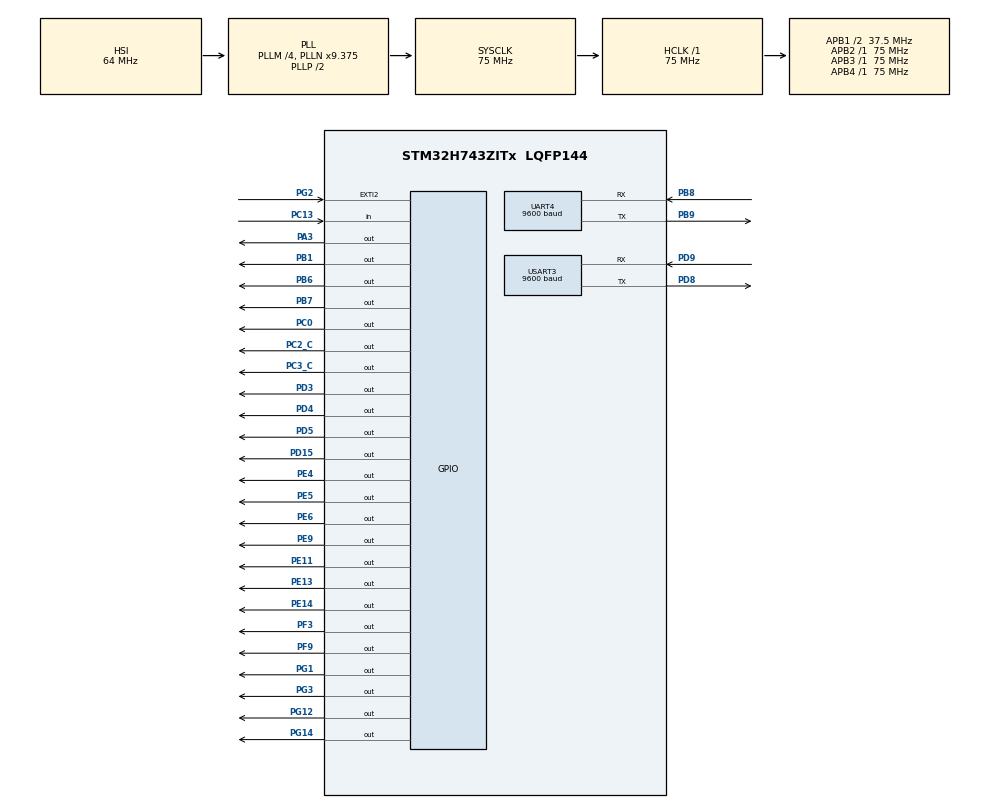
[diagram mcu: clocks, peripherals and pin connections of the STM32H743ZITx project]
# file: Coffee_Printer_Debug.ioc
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CORTEX_M7.default_mode_Activation=1
Mcu.Family=STM32H7
Mcu.Name=STM32H743ZITx
Mcu.Package=LQFP144
NVIC.PriorityGroup=NVIC_PRIORITYGROUP_4
NVIC.UART4_IRQn=true\:0\:0\:false\:false\:true\:true\:true\:true
NVIC.USART3_IRQn=true\:0\:0\:false\:false\:true\:true\:true\:true
PA3.Signal=GPIO_Output
PB1.Signal=GPIO_Output
PB6.Signal=GPIO_Output
PB7.Signal=GPIO_Output
PB8.Mode=Asynchronous
PB8.Signal=UART4_RX
PB9.Mode=Asynchronous
PB9.Signal=UART4_TX
PC0.Signal=GPIO_Output
PC13.Signal=GPIO_Input
PC2_C.Signal=GPIO_Output
PC3_C.Signal=GPIO_Output
PD15.Signal=GPIO_Output
PD3.Signal=GPIO_Output
PD4.Signal=GPIO_Output
PD5.Signal=GPIO_Output
PD8.Mode=Asynchronous
PD8.Signal=USART3_TX
PD9.Mode=Asynchronous
PD9.Signal=USART3_RX
PE11.Signal=GPIO_Output
PE13.Signal=GPIO_Output
PE14.Signal=GPIO_Output
PE4.Signal=GPIO_Output
PE5.Signal=GPIO_Output
PE6.Signal=GPIO_Output
PE9.Signal=GPIO_Output
PF3.Signal=GPIO_Output
PF9.Signal=GPIO_Output
PG1.Signal=GPIO_Output
PG12.Signal=GPIO_Output
PG14.Signal=GPIO_Output
PG2.Signal=GPXTI2
PG3.Signal=GPIO_Output
PH0-OSC_IN\ (PH0).Mode=HSE-External-Oscillator
PH0-OSC_IN\ (PH0).Signal=RCC_OSC_IN
PH1-OSC_OUT\ (PH1).Mode=HSE-External-Oscillator
PH1-OSC_OUT\ (PH1).Signal=RCC_OSC_OUT
ProjectManager.HeapSize=0x200
ProjectManager.StackSize=0x400
ProjectManager.TargetToolchain=STM32CubeIDE
RCC.ADCFreq_Value=129000000
RCC.APB1Freq_Value=37500000
RCC.APB2Freq_Value=75000000
RCC.APB3Freq_Value=75000000
RCC.APB4Freq_Value=75000000
RCC.CortexFreq_Value=75000000
RCC.D2PPRE1=RCC_APB1_DIV2
RCC.DIVM1=4
RCC.DIVN1=9
RCC.HCLKFreq_Value=75000000
RCC.PLL2FRACN=0
RCC.PLL3FRACN=0
RCC.PLLFRACN=3072
RCC.SYSCLKFreq_VALUE=75000000
RCC.SYSCLKSource=RCC_SYSCLKSOURCE_PLLCLK
RCC.USBFreq_Value=75000000
TIM1.Prescaler=75-1
UART4.BaudRate=9600
USART3.BaudRate=9600
USART3.VirtualMode-Asynchronous=VM_ASYNC
VP_TIM1_VS_ClockSourceINT.Mode=Internal
board=custom

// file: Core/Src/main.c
/* USER CODE BEGIN Header */
/**
  ******************************************************************************
  * @file           : main.c
  * @brief          : Main program body
  ******************************************************************************
  * @attention
  *
  * Copyright (c) 2023 STMicroelectronics.
  * All rights reserved.
  *
  * This software is licensed under terms that can be found in the LICENSE file
  * in the root directory of this software component.
  * If no LICENSE file comes with this software, it is provided AS-IS.
  *
  ******************************************************************************
  */
/* USER CODE END Header */
#include "main.h"

/* USER CODE BEGIN Includes */
#include "SteppLibrary.h"
#include "string.h"
/* USER CODE END Includes */

TIM_HandleTypeDef htim1;

UART_HandleTypeDef huart4;
UART_HandleTypeDef huart3;

void SystemClock_Config(void);
static void MPU_Config(void);
static void MX_GPIO_Init(void);
static void MX_TIM1_Init(void);
static void MX_USART3_UART_Init(void);
static void MX_UART4_Init(void);

/* USER CODE BEGIN 0 */
uint8_t RX_data[2]={};
uint8_t Package_Data[250000][2]={0};
uint32_t cnt = 0;
uint8_t accessFlag = 0;

int _write(int file, uint8_t *ptr, int len)
{
	int DataIdx;

	for (DataIdx = 0; DataIdx < len; DataIdx++)
	{
		ITM_SendChar(*ptr++);
	}
	return len;
}
/* USER CODE END 0 */

int main(void)
{
  /* USER CODE BEGIN 1 */
	uint8_t command;
	uint16_t steps;
	uint32_t i;
  /* USER CODE END 1 */

  /* MPU Configuration--------------------------------------------------------*/
  MPU_Config();

  /* MCU Configuration--------------------------------------------------------*/

  /* Reset of all peripherals, Initializes the Flash interface and the Systick. */
  HAL_Init();

  /* Configure the system clock */
  SystemClock_Config();

  /* Initialize all configured peripherals */
  MX_GPIO_Init();
  MX_TIM1_Init();
  MX_USART3_UART_Init();
  MX_UART4_Init();
  /* USER CODE BEGIN 2 */
  __HAL_UART_ENABLE_IT(&huart3, UART_IT_RXNE);
  __HAL_UART_ENABLE_IT(&huart3, UART_IT_TC);
  __HAL_UART_ENABLE_IT(&huart4, UART_IT_RXNE);
  __HAL_UART_ENABLE_IT(&huart4, UART_IT_TC);

  HAL_UARTEx_ReceiveToIdle_IT(&huart4, Package_Data[cnt], 2);
  /* USER CODE END 2 */

  /* Infinite loop */
  /* USER CODE BEGIN WHILE */
  while (1)
  {
	  if(accessFlag == 1)
	  {
		  printf("Start of printing!!!\n\n");
		  for(i = 0; i < cnt; i++)
		  {
			  convertStepsAndCommand(Package_Data[i], &steps, &command);
			  printf("command = %x, steps = %d\n", command, steps);
			  commandHandler(steps, command);
		  }
		  accessFlag = 0;
		  cnt = 0;
		  memset(Package_Data, 0, sizeof(Package_Data));
		  printf("Ready to receive!!!\n\n");
		  HAL_UARTEx_ReceiveToIdle_IT(&huart4, Package_Data[cnt], 2);
	  }
    /* USER CODE END WHILE */
  }
}

void SystemClock_Config(void)
{
  RCC_OscInitTypeDef RCC_OscInitStruct = {0};
  RCC_ClkInitTypeDef RCC_ClkInitStruct = {0};

  /** Supply configuration update enable
  */
  HAL_PWREx_ConfigSupply(PWR_LDO_SUPPLY);

  /** Configure the main internal regulator output voltage
  */
  __HAL_PWR_VOLTAGESCALING_CONFIG(PWR_REGULATOR_VOLTAGE_SCALE3);

  while(!__HAL_PWR_GET_FLAG(PWR_FLAG_VOSRDY)) {}

  /** Initializes the RCC Oscillators according to the specified parameters
  * in the RCC_OscInitTypeDef structure.
  */
  RCC_OscInitStruct.OscillatorType = RCC_OSCILLATORTYPE_HSI;
  RCC_OscInitStruct.HSIState = RCC_HSI_DIV1;
  RCC_OscInitStruct.HSICalibrationValue = RCC_HSICALIBRATION_DEFAULT;
  RCC_OscInitStruct.PLL.PLLState = RCC_PLL_ON;
  RCC_OscInitStruct.PLL.PLLSource = RCC_PLLSOURCE_HSI;
  RCC_OscInitStruct.PLL.PLLM = 4;
  RCC_OscInitStruct.PLL.PLLN = 9;
  RCC_OscInitStruct.PLL.PLLP = 2;
  RCC_OscInitStruct.PLL.PLLQ = 2;
  RCC_OscInitStruct.PLL.PLLR = 2;
  RCC_OscInitStruct.PLL.PLLRGE = RCC_PLL1VCIRANGE_3;
  RCC_OscInitStruct.PLL.PLLVCOSEL = RCC_PLL1VCOMEDIUM;
  RCC_OscInitStruct.PLL.PLLFRACN = 3072;
  if (HAL_RCC_OscConfig(&RCC_OscInitStruct) != HAL_OK)
  {
    Error_Handler();
  }

  /** Initializes the CPU, AHB and APB buses clocks
  */
  RCC_ClkInitStruct.ClockType = RCC_CLOCKTYPE_HCLK|RCC_CLOCKTYPE_SYSCLK
                              |RCC_CLOCKTYPE_PCLK1|RCC_CLOCKTYPE_PCLK2
                              |RCC_CLOCKTYPE_D3PCLK1|RCC_CLOCKTYPE_D1PCLK1;
  RCC_ClkInitStruct.SYSCLKSource = RCC_SYSCLKSOURCE_PLLCLK;
  RCC_ClkInitStruct.SYSCLKDivider = RCC_SYSCLK_DIV1;
  RCC_ClkInitStruct.AHBCLKDivider = RCC_HCLK_DIV1;
  RCC_ClkInitStruct.APB3CLKDivider = RCC_APB3_DIV1;
  RCC_ClkInitStruct.APB1CLKDivider = RCC_APB1_DIV2;
  RCC_ClkInitStruct.APB2CLKDivider = RCC_APB2_DIV1;
  RCC_ClkInitStruct.APB4CLKDivider = RCC_APB4_DIV1;

  if (HAL_RCC_ClockConfig(&RCC_ClkInitStruct, FLASH_LATENCY_1) != HAL_OK)
  {
    Error_Handler();
  }
}

static void MX_TIM1_Init(void)
{

  TIM_ClockConfigTypeDef sClockSourceConfig = {0};
  TIM_MasterConfigTypeDef sMasterConfig = {0};

  htim1.Instance = TIM1;
  htim1.Init.Prescaler = 75-1;
  htim1.Init.CounterMode = TIM_COUNTERMODE_UP;
  htim1.Init.Period = 65535;
  htim1.Init.ClockDivision = TIM_CLOCKDIVISION_DIV1;
  htim1.Init.RepetitionCounter = 0;
  htim1.Init.AutoReloadPreload = TIM_AUTORELOAD_PRELOAD_DISABLE;
  if (HAL_TIM_Base_Init(&htim1) != HAL_OK)
  {
    Error_Handler();
  }
  sClockSourceConfig.ClockSource = TIM_CLOCKSOURCE_INTERNAL;
  if (HAL_TIM_ConfigClockSource(&htim1, &sClockSourceConfig) != HAL_OK)
  {
    Error_Handler();
  }
  sMasterConfig.MasterOutputTrigger = TIM_TRGO_RESET;
  sMasterConfig.MasterOutputTrigger2 = TIM_TRGO2_RESET;
  sMasterConfig.MasterSlaveMode = TIM_MASTERSLAVEMODE_DISABLE;
  if (HAL_TIMEx_MasterConfigSynchronization(&htim1, &sMasterConfig) != HAL_OK)
  {
    Error_Handler();
  }

}

static void MX_UART4_Init(void)
{

  huart4.Instance = UART4;
  huart4.Init.BaudRate = 9600;
  huart4.Init.WordLength = UART_WORDLENGTH_8B;
  huart4.Init.StopBits = UART_STOPBITS_1;
  huart4.Init.Parity = UART_PARITY_NONE;
  huart4.Init.Mode = UART_MODE_TX_RX;
  huart4.Init.HwFlowCtl = UART_HWCONTROL_NONE;
  huart4.Init.OverSampling = UART_OVERSAMPLING_16;
  huart4.Init.OneBitSampling = UART_ONE_BIT_SAMPLE_DISABLE;
  huart4.Init.ClockPrescaler = UART_PRESCALER_DIV1;
  huart4.AdvancedInit.AdvFeatureInit = UART_ADVFEATURE_NO_INIT;
  if (HAL_UART_Init(&huart4) != HAL_OK)
  {
    Error_Handler();
  }
  if (HAL_UARTEx_SetTxFifoThreshold(&huart4, UART_TXFIFO_THRESHOLD_1_8) != HAL_OK)
  {
    Error_Handler();
  }
  if (HAL_UARTEx_SetRxFifoThreshold(&huart4, UART_RXFIFO_THRESHOLD_1_8) != HAL_OK)
  {
    Error_Handler();
  }
  if (HAL_UARTEx_DisableFifoMode(&huart4) != HAL_OK)
  {
    Error_Handler();
  }

}

static void MX_USART3_UART_Init(void)
{

  huart3.Instance = USART3;
  huart3.Init.BaudRate = 9600;
  huart3.Init.WordLength = UART_WORDLENGTH_8B;
  huart3.Init.StopBits = UART_STOPBITS_1;
  huart3.Init.Parity = UART_PARITY_NONE;
  huart3.Init.Mode = UART_MODE_TX_RX;
  huart3.Init.HwFlowCtl = UART_HWCONTROL_NONE;
  huart3.Init.OverSampling = UART_OVERSAMPLING_16;
  huart3.Init.OneBitSampling = UART_ONE_BIT_SAMPLE_DISABLE;
  huart3.Init.ClockPrescaler = UART_PRESCALER_DIV1;
  huart3.AdvancedInit.AdvFeatureInit = UART_ADVFEATURE_NO_INIT;
  if (HAL_UART_Init(&huart3) != HAL_OK)
  {
    Error_Handler();
  }
  if (HAL_UARTEx_SetTxFifoThreshold(&huart3, UART_TXFIFO_THRESHOLD_1_8) != HAL_OK)
  {
    Error_Handler();
  }
  if (HAL_UARTEx_SetRxFifoThreshold(&huart3, UART_RXFIFO_THRESHOLD_1_8) != HAL_OK)
  {
    Error_Handler();
  }
  if (HAL_UARTEx_DisableFifoMode(&huart3) != HAL_OK)
  {
    Error_Handler();
  }

}

static void MX_GPIO_Init(void)
{
  GPIO_InitTypeDef GPIO_InitStruct = {0};

  /* GPIO Ports Clock Enable */
  __HAL_RCC_GPIOE_CLK_ENABLE();
  __HAL_RCC_GPIOC_CLK_ENABLE();
  __HAL_RCC_GPIOF_CLK_ENABLE();
  __HAL_RCC_GPIOH_CLK_ENABLE();
  __HAL_RCC_GPIOA_CLK_ENABLE();
  __HAL_RCC_GPIOB_CLK_ENABLE();
  __HAL_RCC_GPIOG_CLK_ENABLE();
  __HAL_RCC_GPIOD_CLK_ENABLE();

  /*Configure GPIO pin Output Level */
  HAL_GPIO_WritePin(GPIOE, GPIO_PIN_4|GPIO_PIN_5|GPIO_PIN_6|GPIO_PIN_9
                          |GPIO_PIN_11|GPIO_PIN_13|GPIO_PIN_14, GPIO_PIN_RESET);

  /*Configure GPIO pin Output Level */
  HAL_GPIO_WritePin(GPIOF, GPIO_PIN_3|GPIO_PIN_9, GPIO_PIN_RESET);

  /*Configure GPIO pin Output Level */
  HAL_GPIO_WritePin(GPIOC, GPIO_PIN_0|GPIO_PIN_2|GPIO_PIN_3, GPIO_PIN_RESET);

  /*Configure GPIO pin Output Level */
  HAL_GPIO_WritePin(GPIOA, GPIO_PIN_3, GPIO_PIN_RESET);

  /*Configure GPIO pin Output Level */
  HAL_GPIO_WritePin(GPIOB, GPIO_PIN_1|GPIO_PIN_6|GPIO_PIN_7, GPIO_PIN_RESET);

  /*Configure GPIO pin Output Level */
  HAL_GPIO_WritePin(GPIOG, GPIO_PIN_1|GPIO_PIN_3|GPIO_PIN_12|GPIO_PIN_14, GPIO_PIN_RESET);

  /*Configure GPIO pin Output Level */
  HAL_GPIO_WritePin(GPIOD, GPIO_PIN_15|GPIO_PIN_3|GPIO_PIN_4|GPIO_PIN_5, GPIO_PIN_RESET);

  /*Configure GPIO pins : PE4 PE5 PE6 PE9
                           PE11 PE13 PE14 */
  GPIO_InitStruct.Pin = GPIO_PIN_4|GPIO_PIN_5|GPIO_PIN_6|GPIO_PIN_9
                          |GPIO_PIN_11|GPIO_PIN_13|GPIO_PIN_14;
  GPIO_InitStruct.Mode = GPIO_MODE_OUTPUT_PP;
  GPIO_InitStruct.Pull = GPIO_NOPULL;
  GPIO_InitStruct.Speed = GPIO_SPEED_FREQ_LOW;
  HAL_GPIO_Init(GPIOE, &GPIO_InitStruct);

  /*Configure GPIO pin : PC13 */
  GPIO_InitStruct.Pin = GPIO_PIN_13;
  GPIO_InitStruct.Mode = GPIO_MODE_INPUT;
  GPIO_InitStruct.Pull = GPIO_NOPULL;
  HAL_GPIO_Init(GPIOC, &GPIO_InitStruct);

  /*Configure GPIO pins : PF3 PF9 */
  GPIO_InitStruct.Pin = GPIO_PIN_3|GPIO_PIN_9;
  GPIO_InitStruct.Mode = GPIO_MODE_OUTPUT_PP;
  GPIO_InitStruct.Pull = GPIO_NOPULL;
  GPIO_InitStruct.Speed = GPIO_SPEED_FREQ_LOW;
  HAL_GPIO_Init(GPIOF, &GPIO_InitStruct);

  /*Configure GPIO pins : PC0 PC2 PC3 */
  GPIO_InitStruct.Pin = GPIO_PIN_0|GPIO_PIN_2|GPIO_PIN_3;
  GPIO_InitStruct.Mode = GPIO_MODE_OUTPUT_PP;
  GPIO_InitStruct.Pull = GPIO_NOPULL;
  GPIO_InitStruct.Speed = GPIO_SPEED_FREQ_LOW;
  HAL_GPIO_Init(GPIOC, &GPIO_InitStruct);

  /*Configure GPIO pin : PA3 */
  GPIO_InitStruct.Pin = GPIO_PIN_3;
  GPIO_InitStruct.Mode = GPIO_MODE_OUTPUT_PP;
  GPIO_InitStruct.Pull = GPIO_NOPULL;
  GPIO_InitStruct.Speed = GPIO_SPEED_FREQ_LOW;
  HAL_GPIO_Init(GPIOA, &GPIO_InitStruct);

  /*Configure GPIO pins : PB1 PB6 PB7 */
  GPIO_InitStruct.Pin = GPIO_PIN_1|GPIO_PIN_6|GPIO_PIN_7;
  GPIO_InitStruct.Mode = GPIO_MODE_OUTPUT_PP;
  GPIO_InitStruct.Pull = GPIO_NOPULL;
  GPIO_InitStruct.Speed = GPIO_SPEED_FREQ_LOW;
  HAL_GPIO_Init(GPIOB, &GPIO_InitStruct);

  /*Configure GPIO pins : PG1 PG3 PG12 PG14 */
  GPIO_InitStruct.Pin = GPIO_PIN_1|GPIO_PIN_3|GPIO_PIN_12|GPIO_PIN_14;
  GPIO_InitStruct.Mode = GPIO_MODE_OUTPUT_PP;
  GPIO_InitStruct.Pull = GPIO_NOPULL;
  GPIO_InitStruct.Speed = GPIO_SPEED_FREQ_LOW;
  HAL_GPIO_Init(GPIOG, &GPIO_InitStruct);

  /*Configure GPIO pins : PD15 PD3 PD4 PD5 */
  GPIO_InitStruct.Pin = GPIO_PIN_15|GPIO_PIN_3|GPIO_PIN_4|GPIO_PIN_5;
  GPIO_InitStruct.Mode = GPIO_MODE_OUTPUT_PP;
  GPIO_InitStruct.Pull = GPIO_NOPULL;
  GPIO_InitStruct.Speed = GPIO_SPEED_FREQ_LOW;
  HAL_GPIO_Init(GPIOD, &GPIO_InitStruct);

  /*Configure GPIO pin : PG2 */
  GPIO_InitStruct.Pin = GPIO_PIN_2;
  GPIO_InitStruct.Mode = GPIO_MODE_IT_RISING;
  GPIO_InitStruct.Pull = GPIO_NOPULL;
  HAL_GPIO_Init(GPIOG, &GPIO_InitStruct);

}

/* USER CODE BEGIN 4 */
void HAL_UARTEx_RxEventCallback(UART_HandleTypeDef *huart, uint16_t Size)
{
	uint32_t j;
	 if (huart == &huart4)
	 {
		 //HAL_UART_Transmit_IT(&huart3, RX_data, Size);
		 //printf("callback, RX_data = %x %x\n", RX_data[0], RX_data[1]);

		 if(Package_Data[cnt][0] == 0x0F && Package_Data[cnt][1] == 0x0F)
		 {
			 /*printf("The end of array!, RX_data = %x %x\n", Package_Data[cnt][0], Package_Data[cnt][1]);
			 for(j = 0; j < cnt+1; j++)
			 {
				 printf("String of array[%d] = %x %x\n", j, Package_Data[j][0], Package_Data[j][1]);
			 }*/
			 accessFlag = 1;
		 }
		 else
		 {
			 cnt++;
			 HAL_UARTEx_ReceiveToIdle_IT(&huart4, Package_Data[cnt], 2);
		 }
	 }
}
/* USER CODE END 4 */

/* MPU Configuration */

void MPU_Config(void)
{
  MPU_Region_InitTypeDef MPU_InitStruct = {0};

  /* Disables the MPU */
  HAL_MPU_Disable();

  /** Initializes and configures the Region and the memory to be protected
  */
  MPU_InitStruct.Enable = MPU_REGION_ENABLE;
  MPU_InitStruct.Number = MPU_REGION_NUMBER0;
  MPU_InitStruct.BaseAddress = 0x0;
  MPU_InitStruct.Size = MPU_REGION_SIZE_4GB;
  MPU_InitStruct.SubRegionDisable = 0x87;
  MPU_InitStruct.TypeExtField = MPU_TEX_LEVEL0;
  MPU_InitStruct.AccessPermission = MPU_REGION_NO_ACCESS;
  MPU_InitStruct.DisableExec = MPU_INSTRUCTION_ACCESS_DISABLE;
  MPU_InitStruct.IsShareable = MPU_ACCESS_SHAREABLE;
  MPU_InitStruct.IsCacheable = MPU_ACCESS_NOT_CACHEABLE;
  MPU_InitStruct.IsBufferable = MPU_ACCESS_NOT_BUFFERABLE;

  HAL_MPU_ConfigRegion(&MPU_InitStruct);
  /* Enables the MPU */
  HAL_MPU_Enable(MPU_PRIVILEGED_DEFAULT);

}

void Error_Handler(void)
{
  __disable_irq();
  while (1)
  {
  }
}
